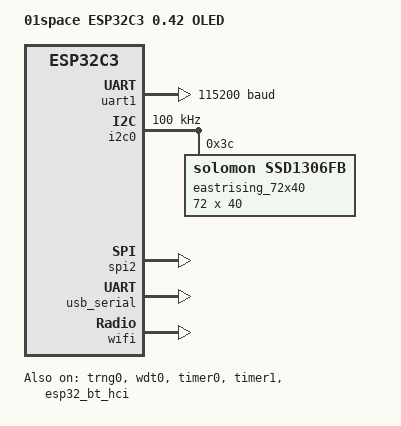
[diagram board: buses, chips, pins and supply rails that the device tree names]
/*
 * Copyright 2022 Google LLC
 * Copyright 2024 Nordic Semiconductor ASA
 *
 * SPDX-License-Identifier: Apache-2.0
 */

/dts-v1/;

#include <espressif/esp32c3/esp32c3_fx4.dtsi>
#include "esp32c3_042_oled-pinctrl.dtsi"
#include <espressif/partitions_0x0_default.dtsi>

/ {
	model = "01space ESP32C3 0.42 OLED";

	chosen {
		zephyr,sram = &sram1;
		zephyr,console = &usb_serial;
		zephyr,shell-uart = &usb_serial;
		zephyr,flash = &flash0;
		zephyr,code-partition = &slot0_partition;
		zephyr,canbus = &twai;
		zephyr,bt-hci = &esp32_bt_hci;
		zephyr,display = &eastrising_72x40;
	};

	aliases {
		i2c-0 = &i2c0;
		watchdog0 = &wdt0;
	};

	/* WS2812B LED connected to GPIO2 */
};

/* Have to use uart1 as some tests are hardcoded for that DTS node :/ */
&uart1 {
	status = "okay";
	current-speed = <115200>;
	pinctrl-0 = <&uart1_default>;
	pinctrl-names = "default";
};

&i2c0 {
	status = "okay";
	clock-frequency = <I2C_BITRATE_STANDARD>;
	pinctrl-0 = <&i2c0_default>;
	pinctrl-names = "default";

	eastrising_72x40: ssd1306@3c {
		compatible = "solomon,ssd1306fb";
		reg = <0x3c>;

		width = <72>;
		height = <40>;

		segment-offset = <28>;
		page-offset = <0>;
		display-offset = <0>;
		multiplex-ratio = <0x27>;
		prechargep = <0x22>;
		ready-time-ms = <10>;
		segment-remap;
		com-invdir;
		use-internal-iref;
	};
};

&spi2 {
	#address-cells = <1>;
	#size-cells = <0>;
	status = "okay";
	pinctrl-0 = <&spim2_default>;
	pinctrl-names = "default";
};

&usb_serial {
	status = "okay";
};

&trng0 {
	status = "okay";
};

&gpio0 {
	status = "okay";
};

&wdt0 {
	status = "okay";
};

&timer0 {
	status = "okay";
};

&timer1 {
	status = "okay";
};

&wifi {
	status = "okay";
};

&esp32_bt_hci {
	status = "okay";
};
